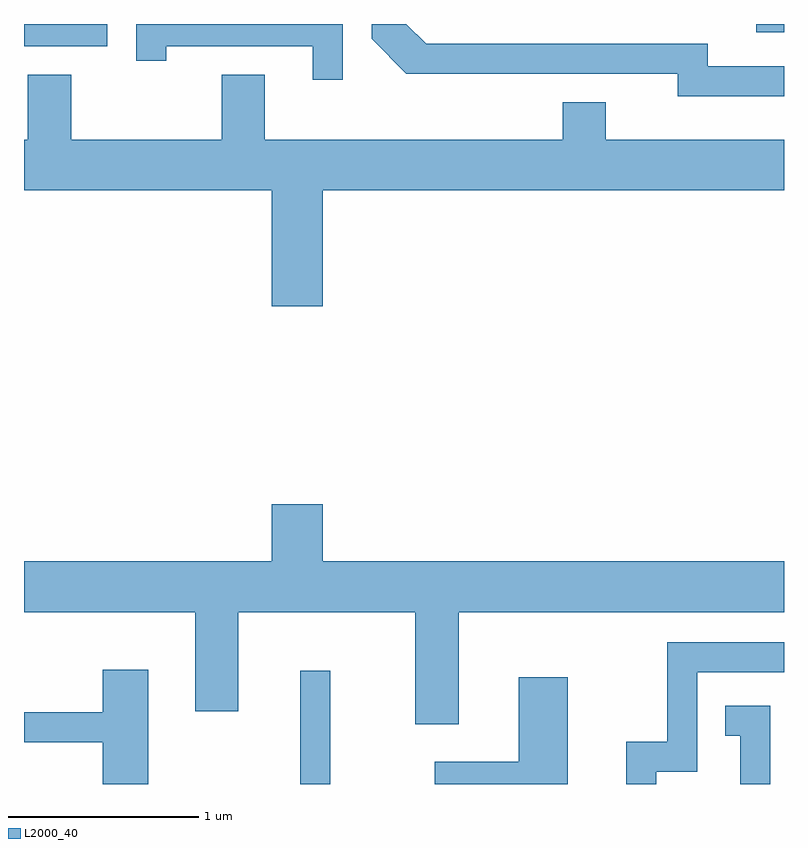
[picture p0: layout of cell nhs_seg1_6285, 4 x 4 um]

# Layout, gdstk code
import gdstk
lib = gdstk.Library(unit=1e-6, precision=1e-09)
def R(c, l, rs):  # rectangles x0, y0, x1, y1
    for r in rs: c.add(gdstk.rectangle(r[:2], r[2:], *l))
def P(c, l, *ps):  # polygons
    for p in ps: c.add(gdstk.Polygon(p, *l))
L2000_40 = (2000, 40)

nhs_seg1_6285 = lib.new_cell('nhs_seg1_6285')
R(nhs_seg1_6285, L2000_40, [(375.066,969.712,375.224,970.308), (373.611,973.596,374.049,973.712), (377.466,973.668,377.611,973.712)])
P(nhs_seg1_6285, L2000_40, [(375.289,973.712),(374.201,973.712),(374.201,973.518),(374.359,973.518),(374.359,973.596),(375.131,973.596),(375.131,973.418),(375.289,973.418)],
  [(377.611,973.489),(377.209,973.489),(377.209,973.609),(375.727,973.609),(375.624,973.712),(375.441,973.712),(375.441,973.634),(375.624,973.451),(377.051,973.451),(377.051,973.331),(377.611,973.331)],
  [(375.184,972.836),(377.611,972.836),(377.611,973.104),(376.674,973.104),(376.674,973.299),(376.446,973.299),(376.446,973.104),(374.879,973.104),(374.879,973.444),(374.651,973.444),(374.651,973.104),(373.859,973.104),(373.859,973.444),(373.631,973.444),(373.631,973.104),(373.611,973.104),(373.611,972.836),(374.916,972.836),(374.916,972.226),(375.184,972.226)],
  [(375.899,970.616),(377.611,970.616),(377.611,970.884),(375.184,970.884),(375.184,971.184),(374.916,971.184),(374.916,970.884),(373.611,970.884),(373.611,970.616),(374.511,970.616),(374.511,970.096),(374.739,970.096),(374.739,970.616),(375.671,970.616),(375.671,970.026),(375.899,970.026)],
  [(376.939,969.776),(377.154,969.776),(377.154,970.301),(377.611,970.301),(377.611,970.459),(376.996,970.459),(376.996,969.934),(376.781,969.934),(376.781,969.712),(376.939,969.712)],
  [(374.264,970.314),(374.026,970.314),(374.026,970.089),(373.611,970.089),(373.611,969.931),(374.026,969.931),(374.026,969.712),(374.264,969.712)],
  [(376.474,970.274),(376.216,970.274),(376.216,969.829),(375.773,969.829),(375.773,969.712),(376.474,969.712)],
  [(377.539,970.124),(377.303,970.124),(377.303,969.966),(377.381,969.966),(377.381,969.712),(377.539,969.712)])

lib.write_gds('nhs_seg1_6285.gds')
